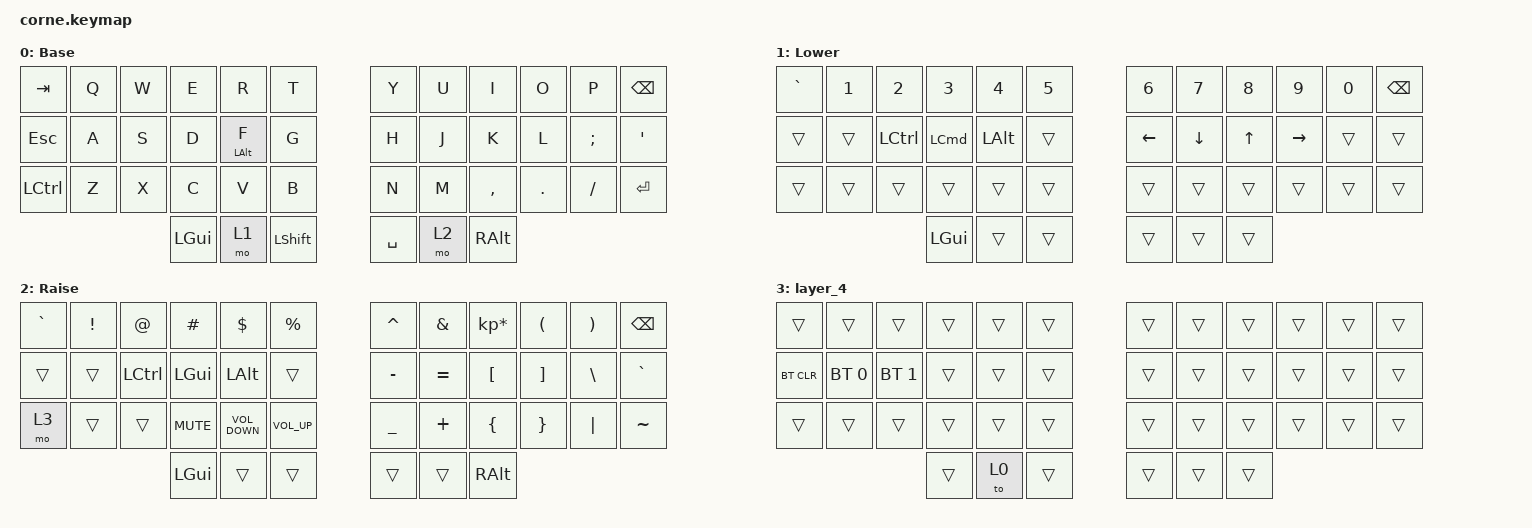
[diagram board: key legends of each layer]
/*
 * Copyright (c) 2020 The ZMK Contributors
 *
 * SPDX-License-Identifier: MIT
 */

#include <behaviors.dtsi>
#include <dt-bindings/zmk/bt.h>
#include <dt-bindings/zmk/keys.h>

/ {
    behaviors {
        shift_caps: shift_caps {
            compatible = "zmk,behavior-tap-dance";
            label = "SHIFT_CAPS";
            #binding-cells = <0>;
            bindings = <&caps_word>, <&kp CAPSLOCK>;

            tapping-term-ms = <150>;
        };

        shifth: shifth {
            compatible = "zmk,behavior-hold-tap";
            label = "SHIFTH";
            bindings = <&kp>, <&caps_word>;

            #binding-cells = <2>;
            quick-tap-ms = <150>;
            tapping-term-ms = <150>;
            require-prior-idle-ms = <50>;
        };

        homerowtest: homerowtest {
            compatible = "zmk,behavior-hold-tap";
            label = "HOMEROWTEST";
            bindings = <&kp>, <&kp>;

            #binding-cells = <2>;
            tapping-term-ms = <280>;
            hold-trigger-on-release;
            flavor = "balanced";
            quick-tap-ms = <75>;
            require-prior-idle-ms = <150>;
            hold-trigger-key-positions = <38>;
        };

        layermt: layermt {
            compatible = "zmk,behavior-hold-tap";
            label = "LAYERMT";
            bindings = <&mo>, <&to>;

            #binding-cells = <2>;
            tapping-term-ms = <200>;
            quick-tap-ms = <75>;
            require-prior-idle-ms = <150>;
        };
    };

    combos {
        compatible = "zmk,combos";

        jk_esc {
            bindings = <&kp ESC>;
            key-positions = <19 20>;
        };

        jump_word_left {
            bindings = <&kp LA(LEFT_ARROW)>;
            key-positions = <18 19>;
        };

        jump_word_right {
            bindings = <&kp LA(RIGHT)>;
            key-positions = <20 21>;
        };
    };

    keymap {
        compatible = "zmk,keymap";

        default_layer {
            // -----------------------------------------------------------------------------------------
            // |  TAB |  Q  |  W  |  E  |  R  |  T  |   |  Y  |  U   |  I  |  O  |  P  | BKSP |
            // | CTRL |  A  |  S  |  D  |  F  |  G  |   |  H  |  J   |  K  |  L  |  ;  |  '   |
            // | SHFT |  Z  |  X  |  C  |  V  |  B  |   |  N  |  M   |  ,  |  .  |  /  | ESC  |
            //                    | GUI | LWR | SPC |   | ENT | RSE  | ALT |

            display-name = "Base";
            bindings = <
&kp TAB    &kp Q  &kp W  &kp E     &kp R                    &kp T         &kp Y      &kp U  &kp I      &kp O    &kp P     &kp BSPC
&kp ESC    &kp A  &kp S  &kp D     &homerowtest LEFT_ALT F  &kp G         &kp H      &kp J  &kp K      &kp L    &kp SEMI  &kp SQT
&kp LCTRL  &kp Z  &kp X  &kp C     &kp V                    &kp B         &kp N      &kp M  &kp COMMA  &kp DOT  &kp FSLH  &kp RET
                         &kp LGUI  &mo 1                    &kp LSHIFT    &kp SPACE  &mo 2  &kp RALT
            >;
        };

        lower_nav {
            // -----------------------------------------------------------------------------------------
            // |  TAB |  1  |  2  |  3  |  4  |  5  |   |  6  |  7  |  8  |  9  |  0  | BKSP |
            // | BTCLR| BT1 | BT2 | BT3 | BT4 | BT5 |   | LFT | DWN |  UP | RGT |     |      |
            // | SHFT |     |     |     |     |     |   |     |     |     |     |     |      |
            //                    | GUI |     | SPC |   | ENT |     | ALT |

            display-name = "Lower";
            bindings = <
&kp GRAVE  &kp N1  &kp N2     &kp N3            &kp N4        &kp N5    &kp N6    &kp N7    &kp N8  &kp N9     &kp N0  &kp BSPC
&trans     &trans  &kp LCTRL  &kp LEFT_COMMAND  &kp LEFT_ALT  &trans    &kp LEFT  &kp DOWN  &kp UP  &kp RIGHT  &trans  &trans
&trans     &trans  &trans     &trans            &trans        &trans    &trans    &trans    &trans  &trans     &trans  &trans
                              &kp LGUI          &trans        &trans    &trans    &trans    &trans
            >;
        };

        raise_layer {
            // -----------------------------------------------------------------------------------------
            // |  TAB |  !  |  @  |  #  |  $  |  %  |   |  ^  |  &  |  *  |  (  |  )  | BKSP |
            // | CTRL |     |     |     |     |     |   |  -  |  =  |  [  |  ]  |  \  |  `   |
            // | SHFT |     |     |     |     |     |   |  _  |  +  |  {  |  }  | "|" |  ~   |
            //                    | GUI |     | SPC |   | ENT |     | ALT |

            display-name = "Raise";
            bindings = <
&kp GRAVE  &kp EXCL  &kp AT     &kp HASH      &kp DLLR           &kp PRCNT       &kp CARET  &kp AMPS   &kp KP_MULTIPLY  &kp LPAR  &kp RPAR  &kp BSPC
&trans     &trans    &kp LCTRL  &kp LEFT_GUI  &kp LEFT_ALT       &trans          &kp MINUS  &kp EQUAL  &kp LBKT         &kp RBKT  &kp BSLH  &kp GRAVE
&mo 3      &trans    &trans     &kp K_MUTE    &kp C_VOLUME_DOWN  &kp C_VOL_UP    &kp UNDER  &kp PLUS   &kp LBRC         &kp RBRC  &kp PIPE  &kp TILDE
                                &kp LGUI      &trans             &trans          &trans     &trans     &kp RALT
            >;
        };

        layer_4 {
            bindings = <
&trans      &trans        &trans        &trans  &trans  &trans    &trans  &trans  &trans  &trans  &trans  &trans
&bt BT_CLR  &bt BT_SEL 0  &bt BT_SEL 1  &trans  &trans  &trans    &trans  &trans  &trans  &trans  &trans  &trans
&trans      &trans        &trans        &trans  &trans  &trans    &trans  &trans  &trans  &trans  &trans  &trans
                                        &trans  &to 0   &trans    &trans  &trans  &trans
            >;
        };
    };

    conditional_layers {
        compatible = "zmk,conditional-layers";

        L4 {
            if-layers = <2 1>;
            then-layer = <3>;
        };
    };
};
